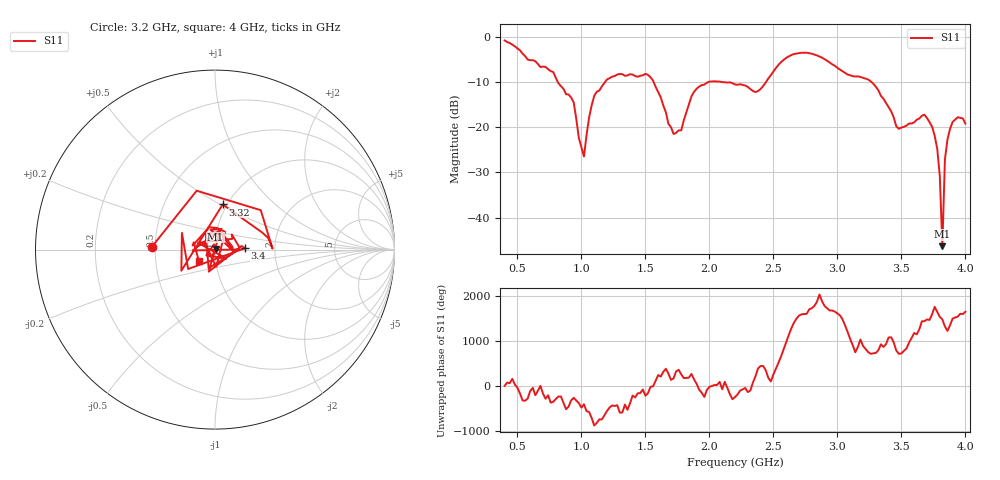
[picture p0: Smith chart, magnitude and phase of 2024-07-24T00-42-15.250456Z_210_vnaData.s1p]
!Created with skrf (http://scikit-rf.org).
# Hz S RI R 50.0
!freq ReS11 ImS11
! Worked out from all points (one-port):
!   181 points, 400 MHz to 4 GHz, reference 50 ohm
!   lowest |S11| = -46.3 dB at 3.82 GHz (marker M1), VSWR 1.01, Z = 50.3 + j0.341 ohm
!   |S11| at or under -10 dB: 815.3 MHz to 1.186 GHz (370.6 MHz wide, 37 % of centre); 1.564 GHz to 1.995 GHz (430.8 MHz wide, 24.2 % of centre); 3.265 GHz to end of sweep (the widest 3 of 4)
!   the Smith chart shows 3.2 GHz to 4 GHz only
!   S11 on the Smith chart (normalised r, x): 3.2 GHz: 0.48, +0.02; 3.32 GHz: 0.95, +0.51; 3.4 GHz: 1.40, +0.02; 4 GHz: 0.83, -0.10
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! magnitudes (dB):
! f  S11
! 400 MHz  -0.8
! 860 MHz  -11.5
! 940 MHz  -14.6
! 1.02 GHz  -26.5
! 1.06 GHz  -17.9
! 1.1 GHz  -13.1
! 1.3 GHz  -8.2
! 1.54 GHz  -9.0
! 1.72 GHz  -21.5
! 1.76 GHz  -20.7
! 1.92 GHz  -11.0
! 2.2 GHz  -10.6
! 2.38 GHz  -12.0
! 2.66 GHz  -3.8
! 3.1 GHz  -8.5
! 3.2 GHz  -9.1
! 3.32 GHz  -11.9
! 3.4 GHz  -15.6
! 3.48 GHz  -20.4
! 3.56 GHz  -19.2
! 3.68 GHz  -17.3
! 3.76 GHz  -21.9
! 3.8 GHz  -30.8
! 3.82 GHz  -46.3
! 3.84 GHz  -27.1
! 3.86 GHz  -22.7
! 3.94 GHz  -17.8
! 4 GHz  -19.2
